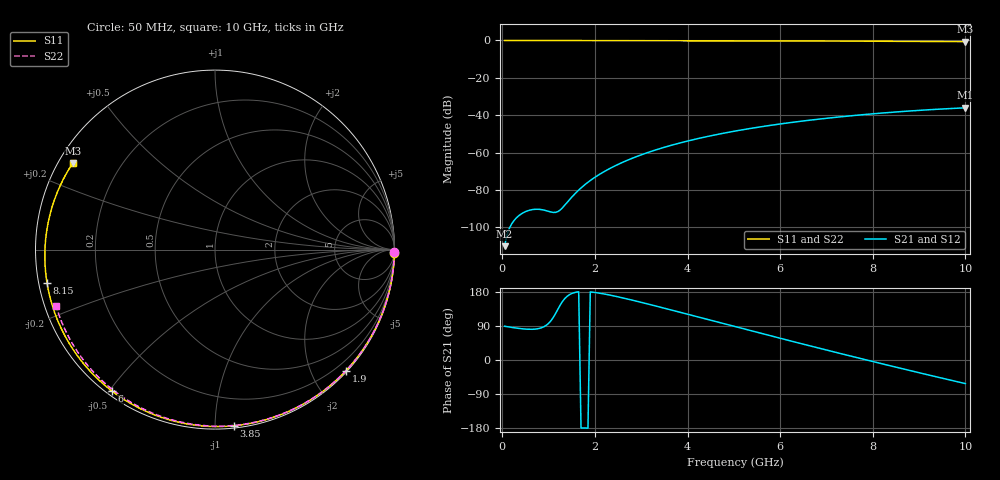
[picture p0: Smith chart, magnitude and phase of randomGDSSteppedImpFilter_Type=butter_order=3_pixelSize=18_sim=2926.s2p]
! freq	dB(S11)	phase(S11)	dB(S12)	phase(S12)
!  dB(S21)	phase(S21)	dB(S22)	phase(S22)
!S-par simulation data
#  GHz  S  DB  R 50
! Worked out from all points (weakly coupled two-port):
!   200 points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, 50 MHz to 10 GHz, reference 50 ohm
!   highest |S21| = -36.04 dB at 10 GHz (marker M1); lowest = -110.0 dB at 50 MHz (marker M2)
!   lowest |S11| = -0.7 dB at 10 GHz (marker M3), VSWR 26.63, Z = 2.03 + j14 ohm
!   |S11| at or under -10 dB: nowhere
!   |S22| runs from -0.5 to 0.0 dB; largest |S21 - S12| = 0
!   S11 on the Smith chart (normalised r, x): 50 MHz: 0, -99; 1.9 GHz: 0.02, -2.55; 3.85 GHz: 0.01, -1.11; 6 GHz: 0.02, -0.51; 8.15 GHz: 0.02, -0.10; 10 GHz: 0.04, +0.28
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0.05  -0.00 -1.2  -110.04 89.1  -110.04 89.1  -0.00 -0.9
0.45  -0.01 -10.3  -92.18 82.1  -92.18 82.1  -0.01 -8.2
0.85  -0.02 -19.4  -90.50 85.3  -90.50 85.3  -0.02 -15.4
1.65  -0.05 -37.3  -80.03 180.0  -80.03 180.0  -0.04 -29.7
1.75  -0.05 -39.6  -77.83 -179.4  -77.83 -179.4  -0.04 -31.5
1.9  -0.05 -42.9  -74.92 179.7  -74.92 179.7  -0.04 -34.1
2.2  -0.06 -49.4  -70.14 174.2  -70.14 174.2  -0.05 -39.4
2.55  -0.07 -56.9  -65.72 165.3  -65.72 165.3  -0.06 -45.4
2.95  -0.08 -65.4  -61.64 153.7  -61.64 153.7  -0.07 -52.2
3.4  -0.10 -74.8  -57.88 139.8  -57.88 139.8  -0.08 -59.8
3.85  -0.11 -84.0  -54.74 125.6  -54.74 125.6  -0.09 -67.2
4.45  -0.14 -96.0  -51.26 106.4  -51.26 106.4  -0.11 -76.9
5.05  -0.16 -107.7  -48.37 87.3  -48.37 87.3  -0.13 -86.3
6  -0.22 -126.1  -44.67 57.3  -44.67 57.3  -0.18 -100.9
6.7  -0.27 -139.6  -42.47 35.5  -42.47 35.5  -0.22 -111.4
7.45  -0.34 -154.4  -40.48 12.6  -40.48 12.6  -0.27 -122.4
8.15  -0.41 -168.6  -38.93 -8.5  -38.93 -8.5  -0.33 -132.7
8.35  -0.43 -172.9  -38.53 -14.5  -38.53 -14.5  -0.35 -135.6
8.8  -0.48 177.4  -37.72 -27.7  -37.72 -27.7  -0.40 -142.2
9.2  -0.54 168.3  -37.08 -39.4  -37.08 -39.4  -0.44 -148.2
9.6  -0.59 158.7  -36.52 -50.9  -36.52 -50.9  -0.49 -154.2
10  -0.65 148.6  -36.04 -62.3  -36.04 -62.3  -0.54 -160.3
